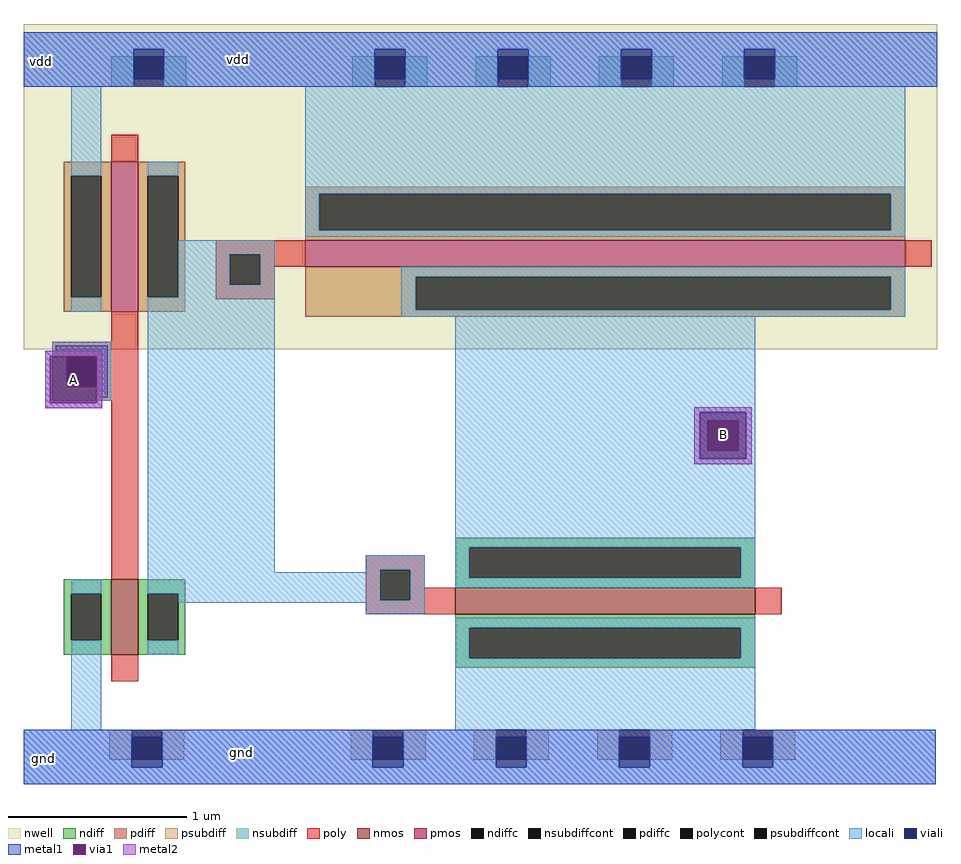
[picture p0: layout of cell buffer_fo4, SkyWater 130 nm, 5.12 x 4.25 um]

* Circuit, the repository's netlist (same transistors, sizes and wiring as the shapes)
* NGSPICE file created from buffer_fo4.ext - technology: sky130A

.subckt buffer_fo4 A B gnd vdd
X0 a_n240_0# A vdd vdd sky130_fd_pr__pfet_01v8 ad=0.223 pd=2.21 as=0.223 ps=2.21 w=0.84 l=0.15
X1 B a_n240_0# gnd gnd sky130_fd_pr__nfet_01v8 ad=0.47 pd=3.92 as=0.504 ps=3.96 w=1.68 l=0.15
X2 a_n240_0# A gnd gnd sky130_fd_pr__nfet_01v8 ad=0.111 pd=1.37 as=0.111 ps=1.37 w=0.42 l=0.15
X3 vdd a_n240_0# B vdd sky130_fd_pr__pfet_01v8 ad=1.01 pd=7.32 as=0.941 ps=7.28 w=3.36 l=0.15
.ends

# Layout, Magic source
magic
tech sky130A
magscale 1 2
<< nwell >>
rect -368 342 655 706
<< nmos >>
rect -270 0 -240 84
rect 115 45 451 75
<< pmos >>
rect -270 384 -240 552
rect -53 434 619 464
<< ndiff >>
rect 115 120 451 131
rect -323 68 -270 84
rect -323 16 -315 68
rect -281 16 -270 68
rect -323 0 -270 16
rect -240 68 -187 84
rect -240 16 -229 68
rect -195 16 -187 68
rect 115 86 131 120
rect 435 86 451 120
rect 115 75 451 86
rect -240 0 -187 16
rect 115 30 451 45
rect 115 -4 131 30
rect 435 -4 451 30
rect 115 -15 451 -4
<< pdiff >>
rect -323 536 -270 552
rect -323 400 -315 536
rect -281 400 -270 536
rect -323 384 -270 400
rect -240 536 -187 552
rect -240 400 -229 536
rect -195 400 -187 536
rect -53 516 619 524
rect -53 475 -37 516
rect 603 475 619 516
rect -53 464 619 475
rect -240 384 -187 400
rect -53 423 619 434
rect -53 386 71 423
rect 603 386 619 423
rect -53 378 619 386
<< ndiffc >>
rect -315 16 -281 68
rect -229 16 -195 68
rect 131 86 435 120
rect 131 -4 435 30
<< pdiffc >>
rect -315 400 -281 536
rect -229 400 -195 536
rect -37 475 603 516
rect 71 386 603 423
<< psubdiff >>
rect -272 -118 -247 -84
rect -213 -118 -188 -84
rect -2 -118 23 -84
rect 57 -118 82 -84
rect 136 -118 161 -84
rect 195 -118 220 -84
rect 274 -118 299 -84
rect 333 -118 358 -84
rect 412 -118 437 -84
rect 471 -118 496 -84
<< nsubdiff >>
rect -270 636 -245 670
rect -211 636 -186 670
rect 0 636 25 670
rect 59 636 84 670
rect 138 636 163 670
rect 197 636 222 670
rect 276 636 301 670
rect 335 636 360 670
rect 414 636 439 670
rect 473 636 498 670
<< psubdiffcont >>
rect -247 -118 -213 -84
rect 23 -118 57 -84
rect 161 -118 195 -84
rect 299 -118 333 -84
rect 437 -118 471 -84
<< nsubdiffcont >>
rect -245 636 -211 670
rect 25 636 59 670
rect 163 636 197 670
rect 301 636 335 670
rect 439 636 473 670
<< poly >>
rect -270 552 -240 582
rect -153 448 -53 464
rect -153 414 -137 448
rect -103 434 -53 448
rect 619 434 649 464
rect -103 414 -87 434
rect -153 398 -87 414
rect -270 350 -240 384
rect -336 334 -240 350
rect -336 300 -320 334
rect -286 300 -240 334
rect -336 284 -240 300
rect -270 84 -240 284
rect 15 95 81 111
rect 15 61 31 95
rect 65 75 81 95
rect 65 61 115 75
rect 15 45 115 61
rect 451 45 481 75
rect -270 -30 -240 0
<< polycont >>
rect -137 414 -103 448
rect -320 300 -286 334
rect 31 61 65 95
<< locali >>
rect -368 678 655 697
rect -368 636 -245 678
rect -211 636 25 678
rect 59 636 163 678
rect 197 636 301 678
rect 335 636 439 678
rect 473 636 655 678
rect -315 536 -281 636
rect -315 384 -281 400
rect -229 536 -195 552
rect -53 516 619 636
rect -53 475 -37 516
rect 603 475 619 516
rect -53 468 619 475
rect -195 448 -87 464
rect -195 414 -137 448
rect -103 414 -87 448
rect -195 400 -87 414
rect -336 334 -270 350
rect -336 300 -320 334
rect -286 300 -270 334
rect -336 284 -270 300
rect -229 92 -87 400
rect 55 423 619 434
rect 55 386 71 423
rect 603 386 619 423
rect 55 378 619 386
rect 115 262 451 378
rect 115 228 398 262
rect 432 228 451 262
rect 115 120 451 228
rect 15 95 81 111
rect 15 92 31 95
rect -315 68 -281 84
rect -315 -84 -281 16
rect -229 68 31 92
rect -195 61 31 68
rect 65 61 81 95
rect 115 86 131 120
rect 435 86 451 120
rect 115 75 451 86
rect -195 58 81 61
rect 15 45 81 58
rect -229 0 -195 16
rect 115 30 451 41
rect 115 -4 131 30
rect 435 -4 451 30
rect 115 -84 451 -4
rect -368 -126 -247 -84
rect -213 -126 23 -84
rect 57 -126 161 -84
rect 195 -126 299 -84
rect 333 -126 437 -84
rect 471 -126 653 -84
rect -368 -145 653 -126
<< viali >>
rect -245 670 -211 678
rect -245 644 -211 670
rect 25 670 59 678
rect 25 644 59 670
rect 163 670 197 678
rect 163 644 197 670
rect 301 670 335 678
rect 301 644 335 670
rect 439 670 473 678
rect 439 644 473 670
rect -320 300 -286 334
rect 398 228 432 262
rect -247 -118 -213 -92
rect -247 -126 -213 -118
rect 23 -118 57 -92
rect 23 -126 57 -118
rect 161 -118 195 -92
rect 161 -126 195 -118
rect 299 -118 333 -92
rect 299 -126 333 -118
rect 437 -118 471 -92
rect 437 -126 471 -118
<< metal1 >>
rect -368 678 655 697
rect -368 644 -245 678
rect -211 644 25 678
rect 59 644 163 678
rect 197 644 301 678
rect 335 644 439 678
rect 473 644 655 678
rect -368 636 655 644
rect -332 340 -274 346
rect -344 334 -274 340
rect -344 282 -338 334
rect -286 288 -274 334
rect -286 282 -280 288
rect -344 276 -280 282
rect 383 271 447 277
rect 383 219 389 271
rect 441 219 447 271
rect 383 213 447 219
rect -368 -92 653 -84
rect -368 -126 -247 -92
rect -213 -126 23 -92
rect 57 -126 161 -92
rect 195 -126 299 -92
rect 333 -126 437 -92
rect 471 -126 653 -92
rect -368 -145 653 -126
<< via1 >>
rect -338 300 -320 334
rect -320 300 -286 334
rect -338 282 -286 300
rect 389 262 441 271
rect 389 228 398 262
rect 398 228 432 262
rect 432 228 441 262
rect 389 219 441 228
<< metal2 >>
rect -344 334 -280 340
rect -344 282 -338 334
rect -286 282 -280 334
rect -344 276 -280 282
rect 383 271 447 277
rect 383 219 389 271
rect 441 219 447 271
rect 383 213 447 219
<< labels >>
rlabel via1 416 246 416 246 5 B
port 2 s
rlabel metal1 -124 -110 -124 -110 5 gnd
rlabel metal1 -128 666 -128 666 5 vdd
rlabel via1 -312 308 -312 308 5 A
port 1 s
rlabel metal1 -348 664 -348 664 5 vdd
port 4 s
rlabel metal1 -346 -116 -346 -116 5 gnd
port 3 s
<< end >>
